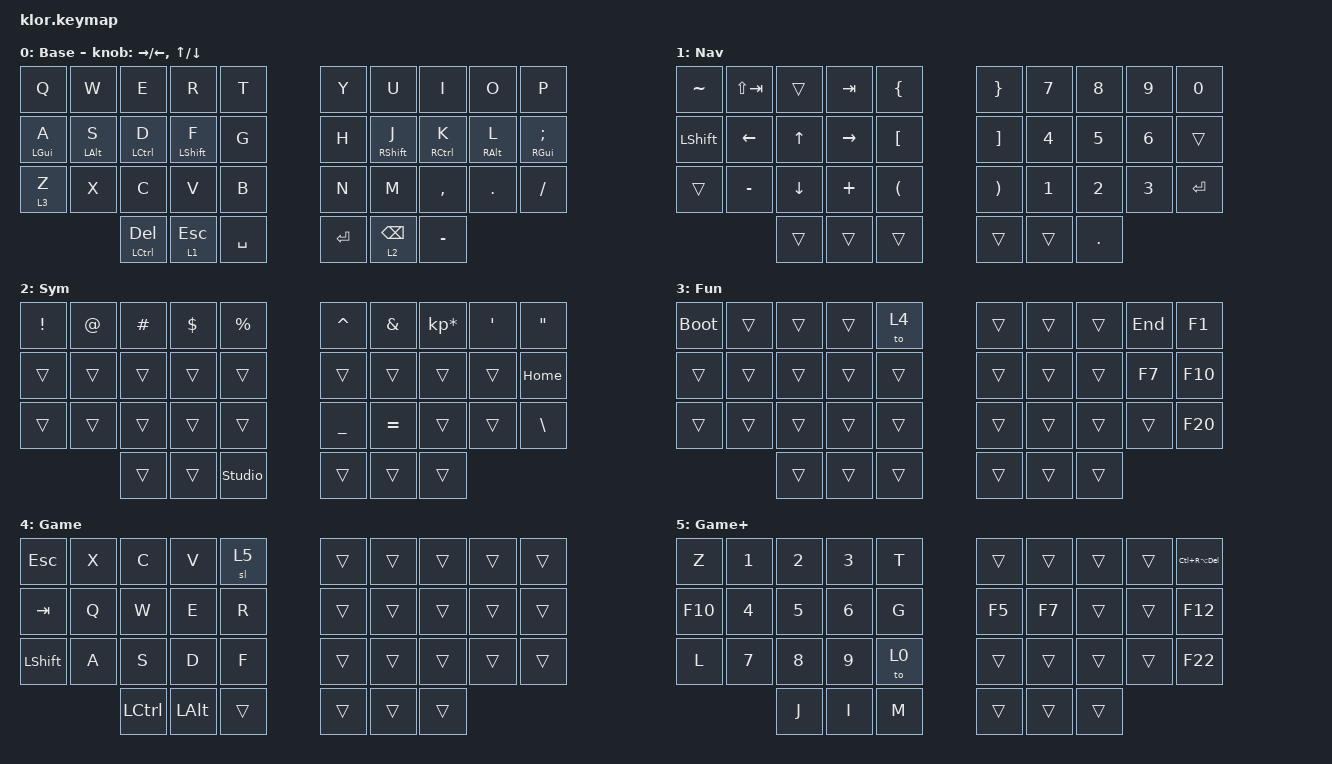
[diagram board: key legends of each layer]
#include <behaviors.dtsi>
#include <dt-bindings/zmk/keys.h>

#define Base        0
#define Nav         1
#define Sym         2
#define Fun         3
#define Game        4
#define Gameplus    5

&mt {
    quick-tap-ms = <100>;
    global-quick-tap;
    flavor = "tap-preferred";
    tapping-term-ms = <170>;
};

&lt {
    tapping-term-ms = <240>;
    flavor = "balanced";
    quick-tap-ms = <150>;
};

/ {
    behaviors {
        hm: homerow_mods {
            compatible = "zmk,behavior-hold-tap";
            label = "HOMEROW_MODS";
            #binding-cells = <2>;
            flavor = "tap-preferred";
            tapping-term-ms = <200>;
            quick-tap-ms = <125>;
            global-quick-tap;
            bindings = <&kp>, <&kp>;
        };
    };

    combos { compatible = "zmk,combos"; };

    macros {
        new_macro: new_macro {
            compatible = "zmk,behavior-macro";
            #binding-cells = <0>;
            bindings = <&none>;
            label = "NEW_MACRO";
        };
    };

    keymap {
        compatible = "zmk,keymap";

        Base {
            display-name = "Base";
            bindings = <
&kp Q       &kp W          &kp E         &kp R         &kp T  &kp Y  &kp U        &kp I        &kp O       &kp P
&hm LGUI A  &hm LALT S     &hm LCTRL D   &hm LSHIFT F  &kp G  &kp H  &hm RSHFT J  &hm RCTRL K  &hm RALT L  &hm RGUI SEMICOLON
&lt 3 Z     &kp X          &kp C         &kp V         &kp B  &kp N  &kp M        &kp COMMA    &kp DOT     &kp SLASH
            &mt LCTRL DEL  &lt 1 ESCAPE  &kp SPACE                   &kp RET      &lt 2 BSPC   &kp MINUS
            >;

            sensor-bindings =
                <&inc_dec_kp RIGHT LEFT>,
                <&inc_dec_kp UP_ARROW DOWN_ARROW>;
        };

        Nav {
            display-name = "Nav";
            bindings = <
&kp TILDE       &kp LS(TAB)  &trans    &kp TAB    &kp LBRC  &kp RBRC  &kp NUMBER_7  &kp NUMBER_8  &kp NUMBER_9  &kp NUMBER_0
&kp LEFT_SHIFT  &kp LEFT     &kp UP    &kp RIGHT  &kp LBKT  &kp RBKT  &kp NUMBER_4  &kp NUMBER_5  &kp NUMBER_6  &trans
&trans          &kp MINUS    &kp DOWN  &kp PLUS   &kp LPAR  &kp RPAR  &kp NUMBER_1  &kp NUMBER_2  &kp NUMBER_3  &kp RET
                &trans       &trans    &trans                         &trans        &trans        &kp DOT
            >;
        };

        Sym {
            display-name = "Sym";
            bindings = <
&kp EXCL  &kp AT  &kp HASH  &kp DOLLAR      &kp PERCENT  &kp CARET  &kp AMPERSAND  &kp KP_ASTERISK  &kp SQT  &kp DQT
&trans    &trans  &trans    &trans          &trans       &trans     &trans         &trans           &trans   &kp HOME
&trans    &trans  &trans    &trans          &trans       &kp UNDER  &kp EQUAL      &trans           &trans   &kp BACKSLASH
          &trans  &trans    &studio_unlock                          &trans         &trans           &trans
            >;
        };

        Fun {
            display-name = "Fun";
            bindings = <
&bootloader  &trans  &trans  &trans  &to 4   &trans  &trans  &trans  &kp END  &kp F1
&trans       &trans  &trans  &trans  &trans  &trans  &trans  &trans  &kp F7   &kp F10
&trans       &trans  &trans  &trans  &trans  &trans  &trans  &trans  &trans   &kp F20
             &trans  &trans  &trans                  &trans  &trans  &trans
            >;
        };

        Gaming {
            display-name = "Game";
            bindings = <
&kp ESCAPE      &kp X      &kp C         &kp V   &sl 5  &trans  &trans  &trans  &trans  &trans
&kp TAB         &kp Q      &kp W         &kp E   &kp R  &trans  &trans  &trans  &trans  &trans
&kp LEFT_SHIFT  &kp A      &kp S         &kp D   &kp F  &trans  &trans  &trans  &trans  &trans
                &kp LCTRL  &kp LEFT_ALT  &trans                 &trans  &trans  &trans
            >;
        };

        Gaming+ {
            display-name = "Game+";
            bindings = <
&kp Z    &kp NUMBER_1  &kp NUMBER_2  &kp NUMBER_3  &kp T  &trans  &trans  &trans  &trans  &kp LC(RA(DEL))
&kp F10  &kp NUMBER_4  &kp NUMBER_5  &kp NUMBER_6  &kp G  &kp F5  &kp F7  &trans  &trans  &kp F12
&kp L    &kp NUMBER_7  &kp NUMBER_8  &kp NUMBER_9  &to 0  &trans  &trans  &trans  &trans  &kp F22
         &kp J         &kp I         &kp M                        &trans  &trans  &trans
            >;
        };
    };
};
